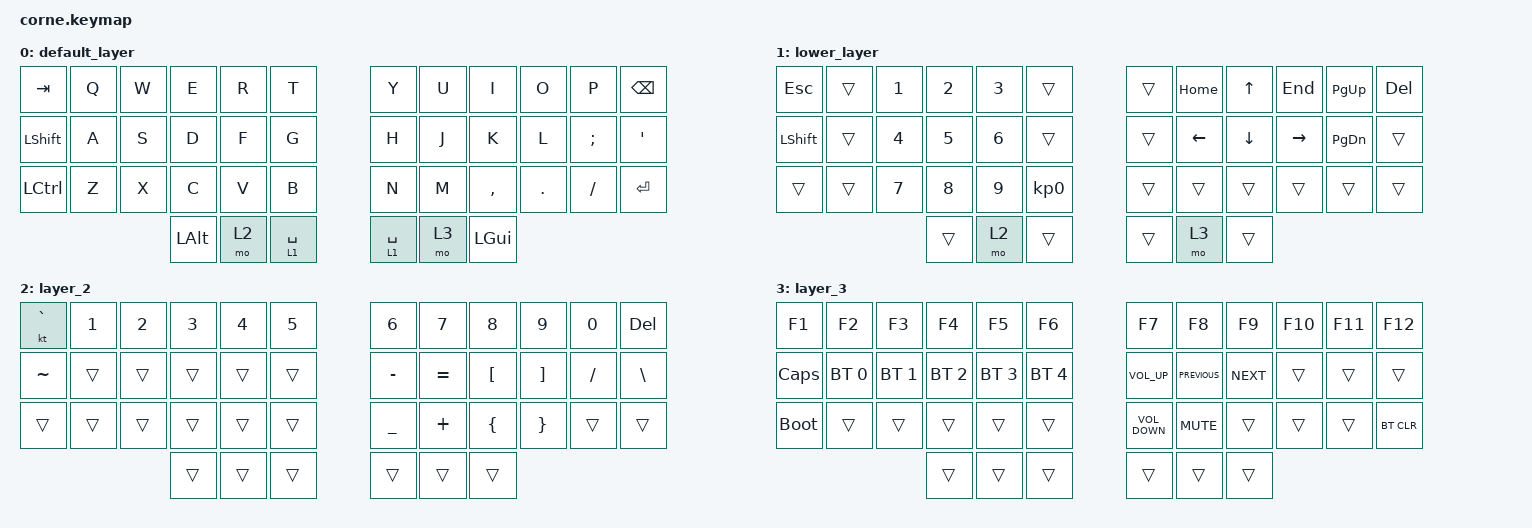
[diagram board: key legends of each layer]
/*
 * Copyright (c) 2020 The ZMK Contributors
 *
 * SPDX-License-Identifier: MIT
 */

#include <behaviors.dtsi>
#include <dt-bindings/zmk/bt.h>
#include <dt-bindings/zmk/keys.h>
#include <dt-bindings/zmk/keys.h>

/ {
    combos {
        compatible = "zmk,combos";

        combo1 {
            bindings = <&kp LBKT>;
            key-positions = <3 4>;
        };

        combo2 {
            bindings = <&kp RBKT>;
            key-positions = <7 8>;
        };

        combo3 {
            bindings = <&kp LEFT_PARENTHESIS>;
            key-positions = <15 16>;
        };

        combo4 {
            bindings = <&kp RIGHT_PARENTHESIS>;
            key-positions = <19 20>;
        };

        combo5 {
            bindings = <&kp LEFT_BRACE>;
            key-positions = <27 28>;
        };

        combo6 {
            bindings = <&kp RIGHT_BRACE>;
            key-positions = <31 32>;
        };

        combo7 {
            bindings = <&kp BACKSLASH>;
            key-positions = <5 6>;
        };

        combo8 {
            bindings = <&kp PIPE>;
            key-positions = <17 18>;
        };
    };

    behaviors {
        tab_esc_ctrl: tab_esc_ctrl {
            compatible = "zmk,behavior-tap-dance";
            label = "TAB_ESC_CTRL";
            #binding-cells = <0>;
            bindings = <&mt LCTRL ESC>, <&kp TAB>;
        };

        gqt: global-quick-tap {
            compatible = "zmk,behavior-hold-tap";
            label = "GLOBAL_QUICK_TAP";
            bindings = <&kp>, <&kp>;

            #binding-cells = <2>;
            tapping-term-ms = <200>;
            quick-tap-ms = <180>;
            global-quick-tap;
            flavor = "tap-preferred";
        };

        ltq: ltq {
            compatible = "zmk,behavior-hold-tap";
            label = "LTQ";
            bindings = <&mo>, <&kp>;

            #binding-cells = <2>;
            tapping-term-ms = <200>;
            quick-tap-ms = <180>;
            global-quick-tap;
        };
    };

    keymap {
        compatible = "zmk,keymap";

        default_layer {
            bindings = <
&kp TAB         &kp Q  &kp W  &kp E         &kp R  &kp T          &kp Y        &kp U  &kp I         &kp O    &kp P     &kp BACKSPACE
&kp LEFT_SHIFT  &kp A  &kp S  &kp D         &kp F  &kp G          &kp H        &kp J  &kp K         &kp L    &kp SEMI  &kp SINGLE_QUOTE
&kp LCTRL       &kp Z  &kp X  &kp C         &kp V  &kp B          &kp N        &kp M  &kp COMMA     &kp DOT  &kp FSLH  &kp ENTER
                              &kp LEFT_ALT  &mo 2  &lt 1 SPACE    &lt 1 SPACE  &mo 3  &kp LEFT_GUI
            >;
        };

        lower_layer {
            bindings = <
&kp ESCAPE      &trans  &kp NUMBER_1  &kp NUMBER_2  &kp NUMBER_3  &trans             &trans  &kp HOME        &kp UP_ARROW    &kp END          &kp PAGE_UP    &kp DELETE
&kp LEFT_SHIFT  &trans  &kp NUMBER_4  &kp NUMBER_5  &kp NUMBER_6  &trans             &trans  &kp LEFT_ARROW  &kp DOWN_ARROW  &kp RIGHT_ARROW  &kp PAGE_DOWN  &trans
&trans          &trans  &kp NUMBER_7  &kp NUMBER_8  &kp NUMBER_9  &kp KP_NUMBER_0    &trans  &trans          &trans          &trans           &trans         &trans
                                      &trans        &mo 2         &trans             &trans  &mo 3           &trans
            >;
        };

        layer_2 {
            bindings = <
&kt GRAVE  &kp NUMBER_1  &kp NUMBER_2  &kp NUMBER_3  &kp NUMBER_4  &kp NUMBER_5    &kp NUMBER_6  &kp NUMBER_7  &kp NUMBER_8      &kp NUMBER_9       &kp NUMBER_0  &kp DELETE
&kp TILDE  &trans        &trans        &trans        &trans        &trans          &kp MINUS     &kp EQUAL     &kp LEFT_BRACKET  &kp RIGHT_BRACKET  &kp FSLH      &kp BACKSLASH
&trans     &trans        &trans        &trans        &trans        &trans          &kp UNDER     &kp PLUS      &kp LEFT_BRACE    &kp RIGHT_BRACE    &trans        &trans
                                       &trans        &trans        &trans          &trans        &trans        &trans
            >;
        };

        layer_3 {
            bindings = <
&kp F1        &kp F2        &kp F3        &kp F4        &kp F5        &kp F6          &kp F7             &kp F8          &kp F9      &kp F10  &kp F11  &kp F12
&kp CAPSLOCK  &bt BT_SEL 0  &bt BT_SEL 1  &bt BT_SEL 2  &bt BT_SEL 3  &bt BT_SEL 4    &kp C_VOLUME_UP    &kp C_PREVIOUS  &kp C_NEXT  &trans   &trans   &trans
&bootloader   &trans        &trans        &trans        &trans        &trans          &kp C_VOLUME_DOWN  &kp C_MUTE      &trans      &trans   &trans   &bt BT_CLR
                                          &trans        &trans        &trans          &trans             &trans          &trans
            >;
        };
    };
};
